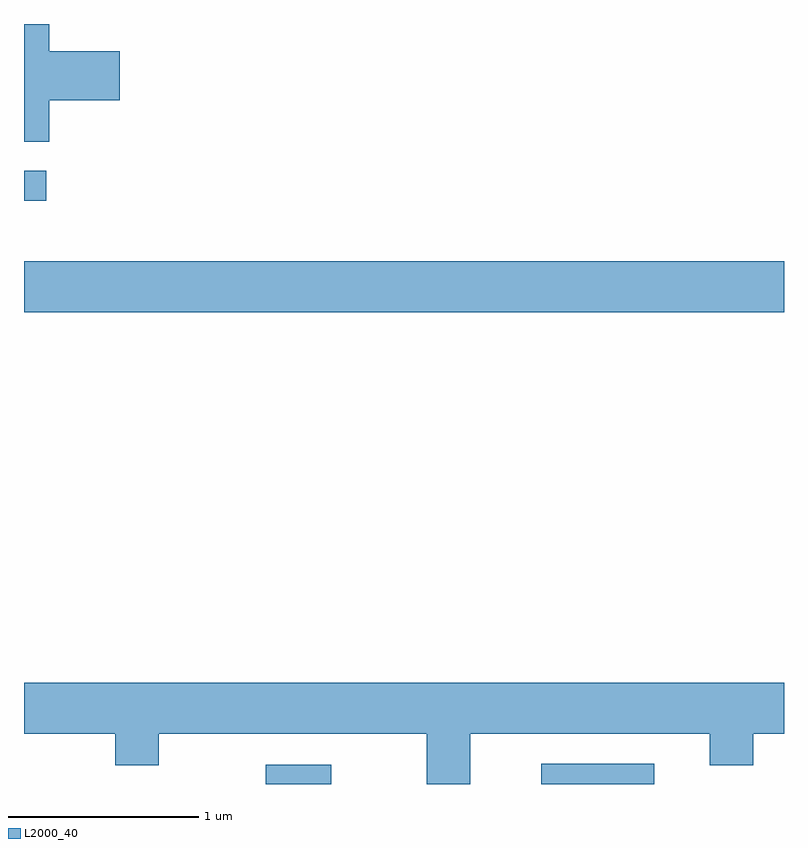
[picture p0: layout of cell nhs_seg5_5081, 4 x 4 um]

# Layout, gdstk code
import gdstk
lib = gdstk.Library(unit=1e-6, precision=1e-09)
def R(c, l, rs):  # rectangles x0, y0, x1, y1
    for r in rs: c.add(gdstk.rectangle(r[:2], r[2:], *l))
def P(c, l, *ps):  # polygons
    for p in ps: c.add(gdstk.Polygon(p, *l))
L2000_40 = (2000, 40)

nhs_seg5_5081 = lib.new_cell('nhs_seg5_5081')
R(nhs_seg5_5081, L2000_40, [(336.883,1472.072,337.229,1472.174), (338.333,1472.072,338.929,1472.179), (335.611,1474.556,339.611,1474.824), (335.611,1475.141,335.728,1475.299)])
P(nhs_seg5_5081, L2000_40, [(335.744,1475.671),(336.114,1475.671),(336.114,1475.929),(335.744,1475.929),(335.744,1476.072),(335.611,1476.072),(335.611,1475.451),(335.744,1475.451)],
  [(337.959,1472.336),(339.221,1472.336),(339.221,1472.171),(339.449,1472.171),(339.449,1472.336),(339.611,1472.336),(339.611,1472.604),(335.611,1472.604),(335.611,1472.336),(336.091,1472.336),(336.091,1472.171),(336.319,1472.171),(336.319,1472.336),(337.731,1472.336),(337.731,1472.072),(337.959,1472.072)])

lib.write_gds('nhs_seg5_5081.gds')
